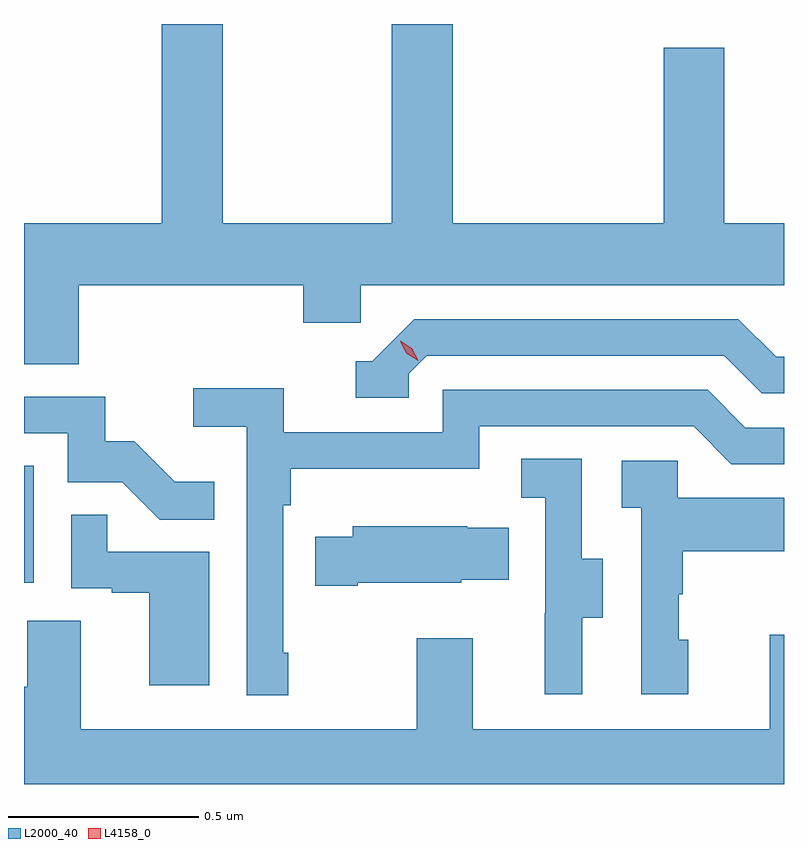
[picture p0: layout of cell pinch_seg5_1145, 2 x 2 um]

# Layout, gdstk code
import gdstk
lib = gdstk.Library(unit=1e-6, precision=1e-09)
def R(c, l, rs):  # rectangles x0, y0, x1, y1
    for r in rs: c.add(gdstk.rectangle(r[:2], r[2:], *l))
def P(c, l, *ps):  # polygons
    for p in ps: c.add(gdstk.Polygon(p, *l))
L2000_40 = (2000, 40)
L4158_0 = (4158, 0)

pinch_seg5_1145 = lib.new_cell('pinch_seg5_1145')
R(pinch_seg5_1145, L2000_40, [(809.48,833.334,809.506,833.641)])
P(pinch_seg5_1145, L2000_40, [(810.215,834.018),(810.366,834.018),(810.366,834.116),(811.48,834.116),(811.48,834.28),(811.323,834.28),(811.323,834.742),(811.163,834.742),(811.163,834.28),(810.608,834.28),(810.608,834.804),(810.448,834.804),(810.448,834.28),(810.003,834.28),(810.003,834.804),(809.843,834.804),(809.843,834.28),(809.48,834.28),(809.48,833.908),(809.624,833.908),(809.624,834.116),(810.215,834.116)],
  [(810.492,833.883),(810.54,833.931),(811.323,833.931),(811.422,833.832),(811.48,833.832),(811.48,833.928),(811.459,833.928),(811.36,834.027),(810.507,834.027),(810.396,833.916),(810.353,833.916),(810.353,833.82),(810.492,833.82)],
  [(810.175,833.149),(810.162,833.149),(810.162,833.537),(810.182,833.537),(810.182,833.633),(810.678,833.633),(810.678,833.745),(811.242,833.745),(811.341,833.646),(811.48,833.646),(811.48,833.742),(811.378,833.742),(811.279,833.841),(810.582,833.841),(810.582,833.73),(810.164,833.73),(810.164,833.846),(809.925,833.846),(809.925,833.744),(810.066,833.744),(810.066,833.037),(810.175,833.037)],
  [(809.981,833.599),(809.877,833.599),(809.77,833.706),(809.694,833.706),(809.694,833.823),(809.48,833.823),(809.48,833.727),(809.595,833.727),(809.595,833.598),(809.739,833.598),(809.837,833.5),(809.981,833.5)],
  [(810.949,833.242),(811.003,833.242),(811.003,833.397),(810.948,833.397),(810.948,833.66),(810.789,833.66),(810.789,833.557),(810.852,833.557),(810.852,833.253),(810.851,833.253),(810.851,833.04),(810.949,833.04)],
  [(811.228,833.184),(811.203,833.184),(811.203,833.303),(811.213,833.303),(811.213,833.417),(811.48,833.417),(811.48,833.557),(811.2,833.557),(811.2,833.655),(811.053,833.655),(811.053,833.531),(811.104,833.531),(811.104,833.04),(811.228,833.04)],
  [(809.968,833.415),(809.699,833.415),(809.699,833.513),(809.604,833.513),(809.604,833.319),(809.711,833.319),(809.711,833.307),(809.81,833.307),(809.81,833.064),(809.968,833.064)],
  [(810.358,833.333),(810.63,833.333),(810.63,833.342),(810.755,833.342),(810.755,833.479),(810.647,833.479),(810.647,833.482),(810.345,833.482),(810.345,833.455),(810.247,833.455),(810.247,833.326),(810.358,833.326)],
  [(811.48,833.197),(811.442,833.197),(811.442,832.948),(810.661,832.948),(810.661,833.188),(810.514,833.188),(810.514,832.948),(809.629,832.948),(809.629,833.234),(809.489,833.234),(809.489,833.06),(809.48,833.06),(809.48,832.804),(811.48,832.804)])
P(pinch_seg5_1145, L4158_0, [(810.517,833.918),(810.486,833.937),(810.47,833.97),(810.47,833.97),(810.47,833.97),(810.501,833.951),(810.517,833.919),(810.517,833.918)])

lib.write_gds('pinch_seg5_1145.gds')
